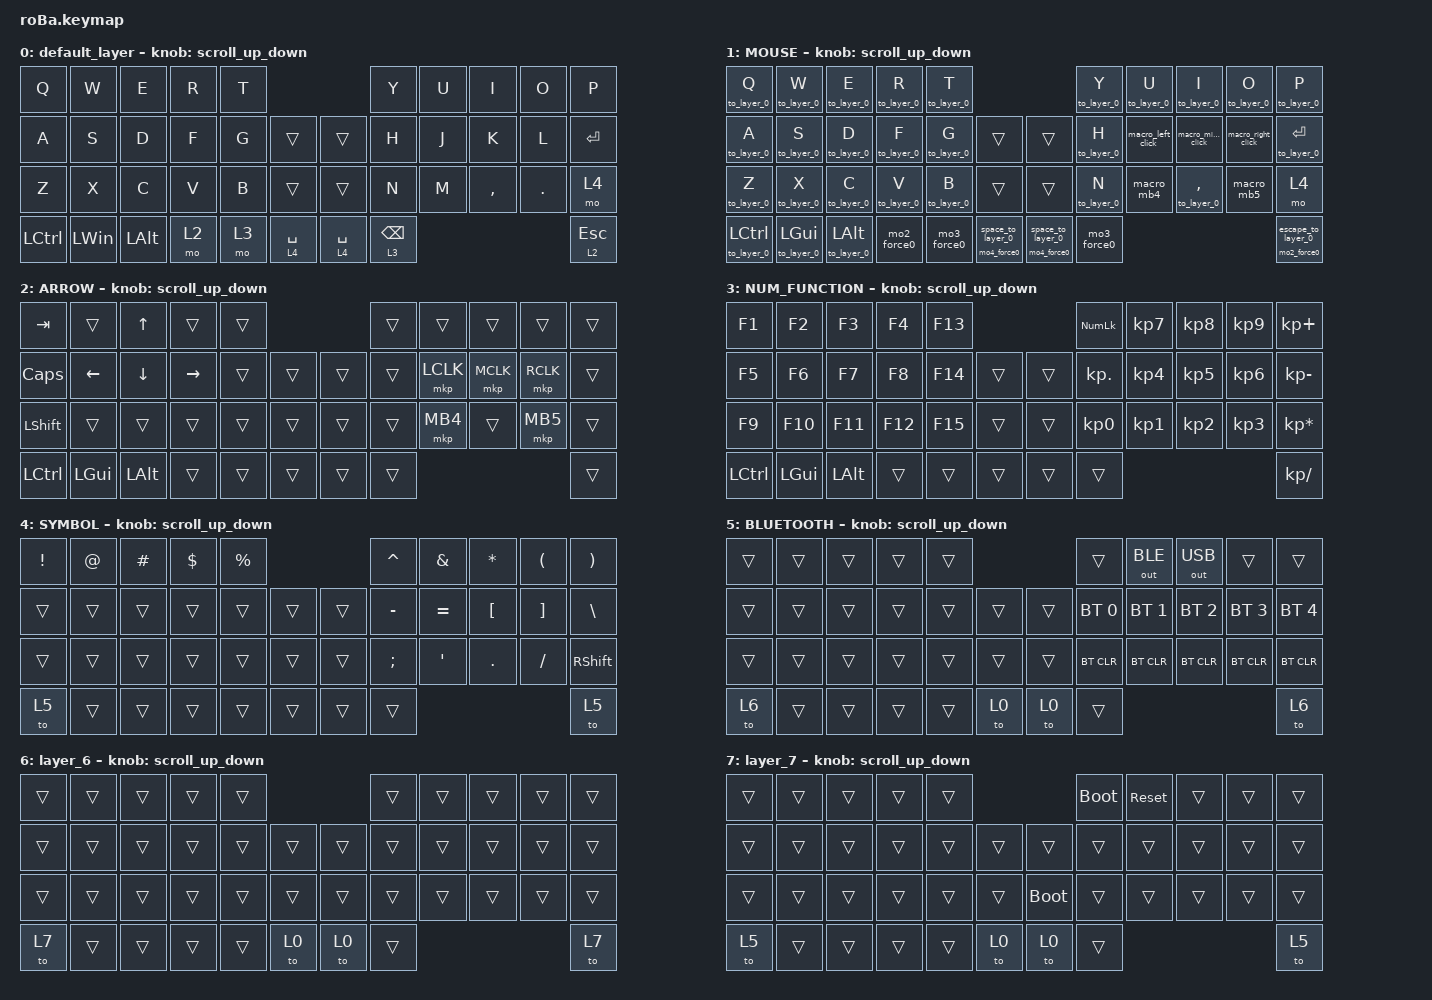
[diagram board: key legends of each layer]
#include <behaviors.dtsi>
#include <dt-bindings/zmk/bt.h>
#include <dt-bindings/zmk/keys.h>
#include <dt-bindings/zmk/outputs.h>
#include <dt-bindings/zmk/pointing.h>

#define ZMK_POINTING_DEFAULT_SCRL_VAL 100
#define MOUSE 4
#define SCROLL 5
#define NUM 6

&mt {
    flavor = "balanced";
    quick-tap-ms = <0>;
};

&sl { release-after-ms = <250>; }; // ダブルクリックに必要な時間を設定
/ {
    combos {
        compatible = "zmk,combos";

        tab {
            bindings = <&kp TAB>;
            key-positions = <1 0>;
        };

        backspace {
            bindings = <&kp BACKSPACE>;
            key-positions = <8 9>;
        };

        command+lshift {
            bindings = <&kp LG(LSHFT)>;
            key-positions = <35 22>;
        };

        minus {
            bindings = <&kp MINUS>;
            key-positions = <8 7>;
        };
    };

    macros {
        to_layer_0: to_layer_0 {
            compatible = "zmk,behavior-macro-one-param";
            #binding-cells = <1>;
            bindings = <&to 0 &macro_param_1to1 &kp MACRO_PLACEHOLDER>;
            label = "TO_LAYER_0";
        };

        macro_left_click: macro_left_click {
            compatible = "zmk,behavior-macro";
            #binding-cells = <0>;
            bindings =
                <&macro_press>,
                <&mkp LCLK>,
                <&macro_pause_for_release>,
                <&macro_release>,
                <&mkp LCLK>,
                <&macro_tap>,
                <&tog_off 1 &sl 1>;

            label = "MACRO_LEFT_CLICK";
        };

        macro_middle_click: macro_middle_click {
            compatible = "zmk,behavior-macro";
            #binding-cells = <0>;
            bindings =
                <&macro_press>,
                <&mkp MCLK>,
                <&macro_pause_for_release>,
                <&macro_release>,
                <&mkp MCLK>,
                <&macro_tap>,
                <&tog_off 1 &sl 1>;

            label = "MACRO_MIDDLE_CLICK";
        };

        macro_right_click: macro_right_click {
            compatible = "zmk,behavior-macro";
            #binding-cells = <0>;
            bindings =
                <&macro_press>,
                <&mkp RCLK>,
                <&macro_pause_for_release>,
                <&macro_release>,
                <&mkp RCLK>,
                <&macro_tap>,
                <&tog_off 1 &sl 1>;

            label = "MACRO_RIGHT_CLICK";
        };

        mo3_force0: mo3_force0 {
            compatible = "zmk,behavior-macro";
            #binding-cells = <0>;
            bindings =
                <&macro_press>,
                <&mo 3>,
                <&macro_pause_for_release>,
                <&macro_release>,
                <&mo 3>,
                <&macro_tap>,
                <&tog_off 1>;

            label = "MO_FORCE0";
        };

        mo4_force0: mo4_force0 {
            compatible = "zmk,behavior-macro";
            #binding-cells = <0>;
            bindings =
                <&macro_press>,
                <&mo 4>,
                <&macro_pause_for_release>,
                <&macro_release>,
                <&mo 4>,
                <&macro_tap>,
                <&tog_off 1>;

            label = "MO4_FORCE0";
        };

        mo2_force0: mo2_force0 {
            compatible = "zmk,behavior-macro";
            #binding-cells = <0>;
            bindings =
                <&macro_press>,
                <&mo 2>,
                <&macro_pause_for_release>,
                <&macro_release>,
                <&mo 2>,
                <&macro_tap>,
                <&tog_off 1>;

            label = "MO2_FORCE0";
        };

        space_to_layer_0: space_to_layer_0 {
            compatible = "zmk,behavior-macro";
            #binding-cells = <0>;
            bindings = <&macro_tap>, <&tog_off 1 &kp SPACE>;

            label = "SPACE_TO_LAYER_0";
        };

        escape_to_layer_0: escape_to_layer_0 {
            compatible = "zmk,behavior-macro";
            #binding-cells = <0>;
            bindings = <&macro_tap>, <&tog_off 1 &kp ESCAPE>;

            label = "ESCAPE_TO_LAYER_0";
        };

        macro_mb4: macro_mb4 {
            compatible = "zmk,behavior-macro";
            #binding-cells = <0>;
            bindings =
                <&macro_press>,
                <&mkp MB4>,
                <&macro_pause_for_release>,
                <&macro_release>,
                <&mkp MB4>,
                <&macro_tap>,
                <&tog_off 1 &sl 1>;

            label = "MACRO_MB4";
        };

        macro_mb5: macro_mb5 {
            compatible = "zmk,behavior-macro";
            #binding-cells = <0>;
            bindings =
                <&macro_press>,
                <&mkp MB5>,
                <&macro_pause_for_release>,
                <&macro_release>,
                <&mkp MB5>,
                <&macro_tap>,
                <&tog_off 1 &sl 1>;

            label = "MACRO_MB5";
        };
    };

    behaviors {
        lt_to_layer_0: lt_to_layer_0 {
            compatible = "zmk,behavior-hold-tap";
            label = "LAYER_TAP_TO_0";
            bindings = <&mo>, <&to_layer_0>;

            #binding-cells = <2>;
            tapping-term-ms = <200>;
        };

        scroll_up_down: behavior_sensor_rotate_mouse_wheel_up_down {
            compatible = "zmk,behavior-sensor-rotate";
            #sensor-binding-cells = <0>;
            bindings = <&msc SCRL_DOWN>, <&msc SCRL_UP>;

            tap-ms = <20>;
        };

        tog_off: toggle_layer_off_only {
            compatible = "zmk,behavior-toggle-layer";
            #binding-cells = <1>;
            display-name = "Toggle Layer Off";
            toggle-mode = "off";
        };

        customized_hold_tap1: customized_hold_tap1 {
            compatible = "zmk,behavior-hold-tap";
            label = "CUSTOMIZED_HOLD_TAP1";
            bindings = <&mo4_force0>, <&space_to_layer_0>;

            #binding-cells = <2>;
            tapping-term-ms = <200>;
        };

        customized_hold_tap2: customized_hold_tap2 {
            compatible = "zmk,behavior-hold-tap";
            label = "CUSTOMIZED_HOLD_TAP2";
            bindings = <&mo2_force0>, <&escape_to_layer_0>;

            #binding-cells = <2>;
            tapping-term-ms = <200>;
        };
    };

    keymap {
        compatible = "zmk,keymap";

        default_layer {
            bindings = <
&kp Q      &kp W         &kp E         &kp R  &kp T                                &kp Y            &kp U  &kp I      &kp O    &kp P
&kp A      &kp S         &kp D         &kp F  &kp G  &trans           &trans       &kp H            &kp J  &kp K      &kp L    &kp ENTER
&kp Z      &kp X         &kp C         &kp V  &kp B  &trans           &trans       &kp N            &kp M  &kp COMMA  &kp DOT  &mo 4
&kp LCTRL  &kp LEFT_WIN  &kp LEFT_ALT  &mo 2  &mo 3  &lt 4 SPACE      &lt 4 SPACE  &lt 3 BACKSPACE                             &lt 2 ESCAPE
            >;

            sensor-bindings = <&scroll_up_down>;
        };

        MOUSE {
            bindings = <
&to_layer_0 Q      &to_layer_0 W         &to_layer_0 E         &to_layer_0 R  &to_layer_0 T                                                            &to_layer_0 Y  &to_layer_0 U      &to_layer_0 I        &to_layer_0 O       &to_layer_0 P
&to_layer_0 A      &to_layer_0 S         &to_layer_0 D         &to_layer_0 F  &to_layer_0 G  &trans                         &trans                     &to_layer_0 H  &macro_left_click  &macro_middle_click  &macro_right_click  &to_layer_0 RETURN
&to_layer_0 Z      &to_layer_0 X         &to_layer_0 C         &to_layer_0 V  &to_layer_0 B  &trans                         &trans                     &to_layer_0 N  &macro_mb4         &to_layer_0 COMMA    &macro_mb5          &mo 4
&to_layer_0 LCTRL  &to_layer_0 LEFT_GUI  &to_layer_0 LEFT_ALT  &mo2_force0    &mo3_force0    &customized_hold_tap1 0 0      &customized_hold_tap1 0 0  &mo3_force0                                                                &customized_hold_tap2 0 0
            >;

            sensor-bindings = <&scroll_up_down>;
        };

        ARROW {
            bindings = <
&kp TAB           &trans        &kp UP_ARROW    &trans     &trans                      &trans  &trans     &trans     &trans     &trans
&kp CAPS          &kp LEFT      &kp DOWN_ARROW  &kp RIGHT  &trans  &trans      &trans  &trans  &mkp LCLK  &mkp MCLK  &mkp RCLK  &trans
&kp LEFT_SHIFT    &trans        &trans          &trans     &trans  &trans      &trans  &trans  &mkp MB4   &trans     &mkp MB5   &trans
&kp LEFT_CONTROL  &kp LEFT_GUI  &kp LEFT_ALT    &trans     &trans  &trans      &trans  &trans                                   &trans
            >;

            sensor-bindings = <&scroll_up_down>;
        };

        NUM_FUNCTION {
            bindings = <
&kp F1            &kp F2        &kp F3        &kp F4   &kp F13                      &kp KP_NUMLOCK   &kp KP_NUMBER_7  &kp KP_NUMBER_8  &kp KP_NUMBER_9  &kp KP_PLUS
&kp F5            &kp F6        &kp F7        &kp F8   &kp F14  &trans      &trans  &kp KP_DOT       &kp KP_NUMBER_4  &kp KP_NUMBER_5  &kp KP_NUMBER_6  &kp KP_MINUS
&kp F9            &kp F10       &kp F11       &kp F12  &kp F15  &trans      &trans  &kp KP_NUMBER_0  &kp KP_NUMBER_1  &kp KP_NUMBER_2  &kp KP_NUMBER_3  &kp KP_MULTIPLY
&kp LEFT_CONTROL  &kp LEFT_GUI  &kp LEFT_ALT  &trans   &trans   &trans      &trans  &trans                                                              &kp KP_DIVIDE
            >;

            sensor-bindings = <&scroll_up_down>;
        };

        SYMBOL {
            bindings = <
&kp EXCLAMATION  &kp AT_SIGN  &kp POUND  &kp DOLLAR  &kp PERCENT                      &kp CARET      &kp AMPERSAND  &kp ASTERISK      &kp LEFT_PARENTHESIS  &kp RIGHT_PARENTHESIS
&trans           &trans       &trans     &trans      &trans       &trans      &trans  &kp MINUS      &kp EQUAL      &kp LEFT_BRACKET  &kp RIGHT_BRACKET     &kp BACKSLASH
&trans           &trans       &trans     &trans      &trans       &trans      &trans  &kp SEMICOLON  &kp SQT        &kp PERIOD        &kp SLASH             &kp RIGHT_SHIFT
&to 5            &trans       &trans     &trans      &trans       &trans      &trans  &trans                                                                &to 5
            >;

            sensor-bindings = <&scroll_up_down>;
        };

        BLUETOOTH {
            bindings = <
&trans  &trans  &trans  &trans  &trans                            &trans        &out OUT_BLE  &out OUT_USB  &trans        &trans
&trans  &trans  &trans  &trans  &trans  &trans      &trans        &bt BT_SEL 0  &bt BT_SEL 1  &bt BT_SEL 2  &bt BT_SEL 3  &bt BT_SEL 4
&trans  &trans  &trans  &trans  &trans  &trans      &trans        &bt BT_CLR    &bt BT_CLR    &bt BT_CLR    &bt BT_CLR    &bt BT_CLR 
&to 6   &trans  &trans  &trans  &trans  &to 0       &to 0         &trans                                                  &to 6
            >;

            sensor-bindings = <&scroll_up_down>;
        };

        layer_6 {
            bindings = <
&trans  &trans  &trans  &trans  &trans                      &trans  &trans  &trans  &trans  &trans
&trans  &trans  &trans  &trans  &trans  &trans      &trans  &trans  &trans  &trans  &trans  &trans
&trans  &trans  &trans  &trans  &trans  &trans      &trans  &trans  &trans  &trans  &trans  &trans
&to 7   &trans  &trans  &trans  &trans  &to 0       &to 0   &trans                          &to 7
            >;

            sensor-bindings = <&scroll_up_down>;
        };

        layer_7 {
            bindings = <
&trans  &trans  &trans  &trans  &trans                           &bootloader  &sys_reset  &trans  &trans  &trans
&trans  &trans  &trans  &trans  &trans  &trans      &trans       &trans       &trans      &trans  &trans  &trans
&trans  &trans  &trans  &trans  &trans  &trans      &bootloader  &trans       &trans      &trans  &trans  &trans
&to 5   &trans  &trans  &trans  &trans  &to 0       &to 0        &trans                                   &to 5
            >;

            sensor-bindings = <&scroll_up_down>;
        };
    };
};
